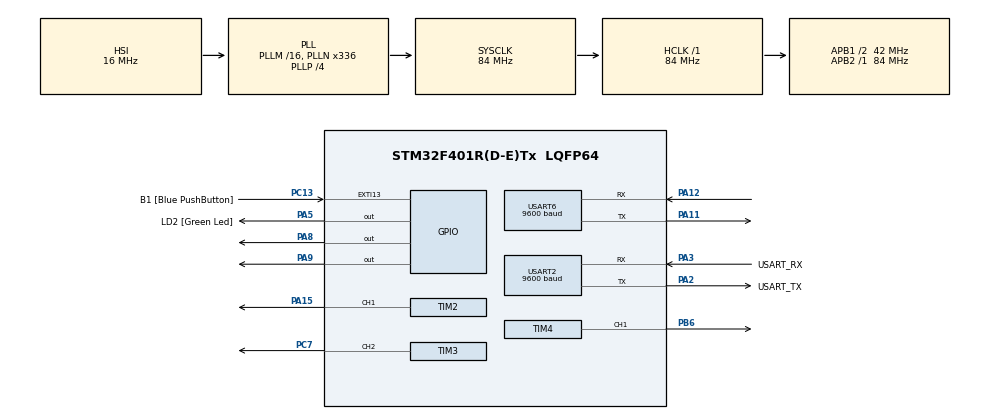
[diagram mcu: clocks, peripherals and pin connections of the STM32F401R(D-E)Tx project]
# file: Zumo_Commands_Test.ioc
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Mcu.Family=STM32F4
Mcu.Name=STM32F401R(D-E)Tx
Mcu.Package=LQFP64
NVIC.PriorityGroup=NVIC_PRIORITYGROUP_0
NVIC.USART6_IRQn=true\:0\:0\:false\:false\:true\:true\:true\:true
PA11.Mode=Asynchronous
PA11.Signal=USART6_TX
PA12.Mode=Asynchronous
PA12.Signal=USART6_RX
PA13.GPIO_Label=TMS
PA13.Mode=Serial_Wire
PA13.Signal=SYS_JTMS-SWDIO
PA14.GPIO_Label=TCK
PA14.Mode=Serial_Wire
PA14.Signal=SYS_JTCK-SWCLK
PA15.Signal=S_TIM2_CH1_ETR
PA2.GPIO_Label=USART_TX
PA2.GPIO_Mode=GPIO_MODE_AF_PP
PA2.GPIO_PuPd=GPIO_NOPULL
PA2.GPIO_Speed=GPIO_SPEED_FREQ_LOW
PA2.Mode=Asynchronous
PA2.Signal=USART2_TX
PA3.GPIO_Label=USART_RX
PA3.GPIO_Mode=GPIO_MODE_AF_PP
PA3.GPIO_PuPd=GPIO_NOPULL
PA3.GPIO_Speed=GPIO_SPEED_FREQ_LOW
PA3.Mode=Asynchronous
PA3.Signal=USART2_RX
PA5.GPIO_Label=LD2 [Green Led]
PA5.GPIO_Mode=GPIO_MODE_OUTPUT_PP
PA5.GPIO_PuPd=GPIO_NOPULL
PA5.GPIO_Speed=GPIO_SPEED_FREQ_LOW
PA5.Signal=GPIO_Output
PA8.Signal=GPIO_Output
PA9.Signal=GPIO_Output
PB3.GPIO_Label=SWO
PB3.Signal=SYS_JTDO-SWO
PB6.Signal=S_TIM4_CH1
PC13-ANTI_TAMP.GPIO_Label=B1 [Blue PushButton]
PC13-ANTI_TAMP.GPIO_ModeDefaultEXTI=GPIO_MODE_IT_FALLING
PC13-ANTI_TAMP.GPIO_PuPd=GPIO_NOPULL
PC13-ANTI_TAMP.Signal=GPXTI13
PC14-OSC32_IN.Mode=LSE-External-Oscillator
PC14-OSC32_IN.Signal=RCC_OSC32_IN
PC15-OSC32_OUT.Mode=LSE-External-Oscillator
PC15-OSC32_OUT.Signal=RCC_OSC32_OUT
PC7.Signal=S_TIM3_CH2
PH0\ -\ OSC_IN.Mode=HSE-External-Clock-Source
PH0\ -\ OSC_IN.Signal=RCC_OSC_IN
PH1\ -\ OSC_OUT.Mode=HSE-External-Clock-Source
PH1\ -\ OSC_OUT.Signal=RCC_OSC_OUT
ProjectManager.HeapSize=0x200
ProjectManager.StackSize=0x400
ProjectManager.TargetToolchain=STM32CubeIDE
RCC.48MHZClocksFreq_Value=48000000
RCC.AHBFreq_Value=84000000
RCC.APB1CLKDivider=RCC_HCLK_DIV2
RCC.APB1Freq_Value=42000000
RCC.APB1TimFreq_Value=84000000
RCC.APB2Freq_Value=84000000
RCC.APB2TimFreq_Value=84000000
RCC.CortexFreq_Value=84000000
RCC.HCLKFreq_Value=84000000
RCC.HSE_VALUE=8000000
RCC.HSI_VALUE=16000000
RCC.PLLN=336
RCC.PLLP=RCC_PLLP_DIV4
RCC.PLLQ=7
RCC.SYSCLKFreq_VALUE=84000000
RCC.SYSCLKSource=RCC_SYSCLKSOURCE_PLLCLK
RCC.VCOOutputFreq_Value=336000000
SH.S_TIM2_CH1_ETR.0=TIM2_CH1,PWM Generation1 CH1
SH.S_TIM3_CH2.0=TIM3_CH2,PWM Generation2 CH2
SH.S_TIM4_CH1.0=TIM4_CH1,PWM Generation1 CH1
TIM2.Channel-PWM\ Generation1\ CH1=TIM_CHANNEL_1
TIM2.Period=25
TIM2.Prescaler=83
TIM2.Pulse-PWM\ Generation1\ CH1=13
TIM3.Channel-PWM\ Generation2\ CH2=TIM_CHANNEL_2
TIM3.Period=49
TIM3.Prescaler=83
TIM3.Pulse-PWM\ Generation2\ CH2=25
TIM4.Channel-PWM\ Generation1\ CH1=TIM_CHANNEL_1
TIM4.Period=49
TIM4.Prescaler=83
TIM4.Pulse-PWM\ Generation1\ CH1=25
TIM5.Prescaler=8399
USART2.BaudRate=9600
USART2.VirtualMode=VM_ASYNC
USART6.BaudRate=9600
USART6.VirtualMode=VM_ASYNC
VP_TIM1_VS_ClockSourceINT.Mode=Internal
VP_TIM2_VS_ClockSourceINT.Mode=Internal
VP_TIM5_VS_ClockSourceINT.Mode=Internal
board=NUCLEO-F401RE

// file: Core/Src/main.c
/* USER CODE BEGIN Header */
/**
  ******************************************************************************
  * @file           : main.c
  * @brief          : Main program body
  ******************************************************************************
  * @attention
  *
  * Copyright (c) 2023 STMicroelectronics.
  * All rights reserved.
  *
  * This software is licensed under terms that can be found in the LICENSE file
  * in the root directory of this software component.
  * If no LICENSE file comes with this software, it is provided AS-IS.
  *
  ******************************************************************************
  */
/* USER CODE END Header */
#include "main.h"

TIM_HandleTypeDef htim1;
TIM_HandleTypeDef htim2;
TIM_HandleTypeDef htim3;
TIM_HandleTypeDef htim4;
TIM_HandleTypeDef htim5;

UART_HandleTypeDef huart2;
UART_HandleTypeDef huart6;

void SystemClock_Config(void);
static void MX_GPIO_Init(void);
static void MX_USART2_UART_Init(void);
static void MX_USART6_UART_Init(void);
static void MX_TIM3_Init(void);
static void MX_TIM4_Init(void);
static void MX_TIM2_Init(void);
static void MX_TIM1_Init(void);
static void MX_TIM5_Init(void);

/* USER CODE BEGIN 0 */

int start_time = 0;
int blast = 0;
uint8_t rx_data[1];

void left_track_fwd() {
	HAL_GPIO_WritePin(GPIOA, GPIO_PIN_9, 0);
}

void left_track_bwd() {
	HAL_GPIO_WritePin(GPIOA, GPIO_PIN_9, 1);
}

void right_track_fwd() {
	HAL_GPIO_WritePin(GPIOA, GPIO_PIN_8, 0);
}

void right_track_bwd() {
	HAL_GPIO_WritePin(GPIOA, GPIO_PIN_8, 1);
}

void Process_Command(uint8_t cmd) {
	int curr_time;
	switch (cmd) {
	case 'u':
		left_track_fwd();
		right_track_fwd();
		break;
	case 'd':
		left_track_bwd();
		right_track_bwd();
		break;
	case 'l':
		left_track_bwd();
		right_track_fwd();
		break;
	case 'r':
		left_track_fwd();
		right_track_bwd();
		break;
	case 's':
		TIM3->CCR2 = 0;
		TIM4->CCR1 = 0;
		break;
	case 'g':
		TIM3->CCR2 = 25;
		TIM4->CCR1 = 25;
		break;
	case 'b':
		blast = 1;
		break;
	}
}

void HAL_UART_RxCpltCallback(UART_HandleTypeDef *huart) {
	Process_Command(rx_data[0]);
	HAL_UART_Receive_IT(&huart6, rx_data, 1);
}

/* USER CODE END 0 */

int main(void)
{

  /* MCU Configuration--------------------------------------------------------*/

  /* Reset of all peripherals, Initializes the Flash interface and the Systick. */
  HAL_Init();

  /* Configure the system clock */
  SystemClock_Config();

  /* Initialize all configured peripherals */
  MX_GPIO_Init();
  MX_USART2_UART_Init();
  MX_USART6_UART_Init();
  MX_TIM3_Init();
  MX_TIM4_Init();
  MX_TIM2_Init();
  MX_TIM1_Init();
  MX_TIM5_Init();
  /* USER CODE BEGIN 2 */

  Process_Command('s');
  TIM2->CCR1 = 0;
  HAL_TIM_PWM_Start(&htim2, TIM_CHANNEL_1);
  HAL_TIM_PWM_Start(&htim3, TIM_CHANNEL_2);
  HAL_TIM_PWM_Start(&htim4, TIM_CHANNEL_1);
  HAL_UART_Receive_IT(&huart6, rx_data, 1);

  /* USER CODE END 2 */

  /* Infinite loop */
  /* USER CODE BEGIN WHILE */

  while (1)
  {
	  if (blast) {
		  TIM2->CCR1 = 13;
		  HAL_Delay(250);
		  TIM2->CCR1 = 0;
		  HAL_Delay(500);
		  blast = 0;
	  }

    /* USER CODE END WHILE */

  }
}

void SystemClock_Config(void)
{
  RCC_OscInitTypeDef RCC_OscInitStruct = {0};
  RCC_ClkInitTypeDef RCC_ClkInitStruct = {0};

  /** Configure the main internal regulator output voltage
  */
  __HAL_RCC_PWR_CLK_ENABLE();
  __HAL_PWR_VOLTAGESCALING_CONFIG(PWR_REGULATOR_VOLTAGE_SCALE2);

  /** Initializes the RCC Oscillators according to the specified parameters
  * in the RCC_OscInitTypeDef structure.
  */
  RCC_OscInitStruct.OscillatorType = RCC_OSCILLATORTYPE_HSI;
  RCC_OscInitStruct.HSIState = RCC_HSI_ON;
  RCC_OscInitStruct.HSICalibrationValue = RCC_HSICALIBRATION_DEFAULT;
  RCC_OscInitStruct.PLL.PLLState = RCC_PLL_ON;
  RCC_OscInitStruct.PLL.PLLSource = RCC_PLLSOURCE_HSI;
  RCC_OscInitStruct.PLL.PLLM = 16;
  RCC_OscInitStruct.PLL.PLLN = 336;
  RCC_OscInitStruct.PLL.PLLP = RCC_PLLP_DIV4;
  RCC_OscInitStruct.PLL.PLLQ = 7;
  if (HAL_RCC_OscConfig(&RCC_OscInitStruct) != HAL_OK)
  {
    Error_Handler();
  }

  /** Initializes the CPU, AHB and APB buses clocks
  */
  RCC_ClkInitStruct.ClockType = RCC_CLOCKTYPE_HCLK|RCC_CLOCKTYPE_SYSCLK
                              |RCC_CLOCKTYPE_PCLK1|RCC_CLOCKTYPE_PCLK2;
  RCC_ClkInitStruct.SYSCLKSource = RCC_SYSCLKSOURCE_PLLCLK;
  RCC_ClkInitStruct.AHBCLKDivider = RCC_SYSCLK_DIV1;
  RCC_ClkInitStruct.APB1CLKDivider = RCC_HCLK_DIV2;
  RCC_ClkInitStruct.APB2CLKDivider = RCC_HCLK_DIV1;

  if (HAL_RCC_ClockConfig(&RCC_ClkInitStruct, FLASH_LATENCY_2) != HAL_OK)
  {
    Error_Handler();
  }
}

static void MX_TIM1_Init(void)
{

  TIM_ClockConfigTypeDef sClockSourceConfig = {0};
  TIM_MasterConfigTypeDef sMasterConfig = {0};

  htim1.Instance = TIM1;
  htim1.Init.Prescaler = 0;
  htim1.Init.CounterMode = TIM_COUNTERMODE_UP;
  htim1.Init.Period = 65535;
  htim1.Init.ClockDivision = TIM_CLOCKDIVISION_DIV1;
  htim1.Init.RepetitionCounter = 0;
  htim1.Init.AutoReloadPreload = TIM_AUTORELOAD_PRELOAD_DISABLE;
  if (HAL_TIM_Base_Init(&htim1) != HAL_OK)
  {
    Error_Handler();
  }
  sClockSourceConfig.ClockSource = TIM_CLOCKSOURCE_INTERNAL;
  if (HAL_TIM_ConfigClockSource(&htim1, &sClockSourceConfig) != HAL_OK)
  {
    Error_Handler();
  }
  sMasterConfig.MasterOutputTrigger = TIM_TRGO_RESET;
  sMasterConfig.MasterSlaveMode = TIM_MASTERSLAVEMODE_DISABLE;
  if (HAL_TIMEx_MasterConfigSynchronization(&htim1, &sMasterConfig) != HAL_OK)
  {
    Error_Handler();
  }

}

static void MX_TIM2_Init(void)
{

  TIM_ClockConfigTypeDef sClockSourceConfig = {0};
  TIM_MasterConfigTypeDef sMasterConfig = {0};
  TIM_OC_InitTypeDef sConfigOC = {0};

  htim2.Instance = TIM2;
  htim2.Init.Prescaler = 83;
  htim2.Init.CounterMode = TIM_COUNTERMODE_UP;
  htim2.Init.Period = 25;
  htim2.Init.ClockDivision = TIM_CLOCKDIVISION_DIV1;
  htim2.Init.AutoReloadPreload = TIM_AUTORELOAD_PRELOAD_DISABLE;
  if (HAL_TIM_Base_Init(&htim2) != HAL_OK)
  {
    Error_Handler();
  }
  sClockSourceConfig.ClockSource = TIM_CLOCKSOURCE_INTERNAL;
  if (HAL_TIM_ConfigClockSource(&htim2, &sClockSourceConfig) != HAL_OK)
  {
    Error_Handler();
  }
  if (HAL_TIM_PWM_Init(&htim2) != HAL_OK)
  {
    Error_Handler();
  }
  sMasterConfig.MasterOutputTrigger = TIM_TRGO_RESET;
  sMasterConfig.MasterSlaveMode = TIM_MASTERSLAVEMODE_DISABLE;
  if (HAL_TIMEx_MasterConfigSynchronization(&htim2, &sMasterConfig) != HAL_OK)
  {
    Error_Handler();
  }
  sConfigOC.OCMode = TIM_OCMODE_PWM1;
  sConfigOC.Pulse = 13;
  sConfigOC.OCPolarity = TIM_OCPOLARITY_HIGH;
  sConfigOC.OCFastMode = TIM_OCFAST_DISABLE;
  if (HAL_TIM_PWM_ConfigChannel(&htim2, &sConfigOC, TIM_CHANNEL_1) != HAL_OK)
  {
    Error_Handler();
  }
  HAL_TIM_MspPostInit(&htim2);

}

static void MX_TIM3_Init(void)
{

  TIM_MasterConfigTypeDef sMasterConfig = {0};
  TIM_OC_InitTypeDef sConfigOC = {0};

  htim3.Instance = TIM3;
  htim3.Init.Prescaler = 83;
  htim3.Init.CounterMode = TIM_COUNTERMODE_UP;
  htim3.Init.Period = 49;
  htim3.Init.ClockDivision = TIM_CLOCKDIVISION_DIV1;
  htim3.Init.AutoReloadPreload = TIM_AUTORELOAD_PRELOAD_DISABLE;
  if (HAL_TIM_PWM_Init(&htim3) != HAL_OK)
  {
    Error_Handler();
  }
  sMasterConfig.MasterOutputTrigger = TIM_TRGO_RESET;
  sMasterConfig.MasterSlaveMode = TIM_MASTERSLAVEMODE_DISABLE;
  if (HAL_TIMEx_MasterConfigSynchronization(&htim3, &sMasterConfig) != HAL_OK)
  {
    Error_Handler();
  }
  sConfigOC.OCMode = TIM_OCMODE_PWM1;
  sConfigOC.Pulse = 25;
  sConfigOC.OCPolarity = TIM_OCPOLARITY_HIGH;
  sConfigOC.OCFastMode = TIM_OCFAST_DISABLE;
  if (HAL_TIM_PWM_ConfigChannel(&htim3, &sConfigOC, TIM_CHANNEL_2) != HAL_OK)
  {
    Error_Handler();
  }
  HAL_TIM_MspPostInit(&htim3);

}

static void MX_TIM4_Init(void)
{

  TIM_MasterConfigTypeDef sMasterConfig = {0};
  TIM_OC_InitTypeDef sConfigOC = {0};

  htim4.Instance = TIM4;
  htim4.Init.Prescaler = 83;
  htim4.Init.CounterMode = TIM_COUNTERMODE_UP;
  htim4.Init.Period = 49;
  htim4.Init.ClockDivision = TIM_CLOCKDIVISION_DIV1;
  htim4.Init.AutoReloadPreload = TIM_AUTORELOAD_PRELOAD_DISABLE;
  if (HAL_TIM_PWM_Init(&htim4) != HAL_OK)
  {
    Error_Handler();
  }
  sMasterConfig.MasterOutputTrigger = TIM_TRGO_RESET;
  sMasterConfig.MasterSlaveMode = TIM_MASTERSLAVEMODE_DISABLE;
  if (HAL_TIMEx_MasterConfigSynchronization(&htim4, &sMasterConfig) != HAL_OK)
  {
    Error_Handler();
  }
  sConfigOC.OCMode = TIM_OCMODE_PWM1;
  sConfigOC.Pulse = 25;
  sConfigOC.OCPolarity = TIM_OCPOLARITY_HIGH;
  sConfigOC.OCFastMode = TIM_OCFAST_DISABLE;
  if (HAL_TIM_PWM_ConfigChannel(&htim4, &sConfigOC, TIM_CHANNEL_1) != HAL_OK)
  {
    Error_Handler();
  }
  HAL_TIM_MspPostInit(&htim4);

}

static void MX_TIM5_Init(void)
{

  TIM_ClockConfigTypeDef sClockSourceConfig = {0};
  TIM_MasterConfigTypeDef sMasterConfig = {0};

  htim5.Instance = TIM5;
  htim5.Init.Prescaler = 8399;
  htim5.Init.CounterMode = TIM_COUNTERMODE_UP;
  htim5.Init.Period = 4294967295;
  htim5.Init.ClockDivision = TIM_CLOCKDIVISION_DIV1;
  htim5.Init.AutoReloadPreload = TIM_AUTORELOAD_PRELOAD_DISABLE;
  if (HAL_TIM_Base_Init(&htim5) != HAL_OK)
  {
    Error_Handler();
  }
  sClockSourceConfig.ClockSource = TIM_CLOCKSOURCE_INTERNAL;
  if (HAL_TIM_ConfigClockSource(&htim5, &sClockSourceConfig) != HAL_OK)
  {
    Error_Handler();
  }
  sMasterConfig.MasterOutputTrigger = TIM_TRGO_RESET;
  sMasterConfig.MasterSlaveMode = TIM_MASTERSLAVEMODE_DISABLE;
  if (HAL_TIMEx_MasterConfigSynchronization(&htim5, &sMasterConfig) != HAL_OK)
  {
    Error_Handler();
  }

}

static void MX_USART2_UART_Init(void)
{

  huart2.Instance = USART2;
  huart2.Init.BaudRate = 9600;
  huart2.Init.WordLength = UART_WORDLENGTH_8B;
  huart2.Init.StopBits = UART_STOPBITS_1;
  huart2.Init.Parity = UART_PARITY_NONE;
  huart2.Init.Mode = UART_MODE_TX_RX;
  huart2.Init.HwFlowCtl = UART_HWCONTROL_NONE;
  huart2.Init.OverSampling = UART_OVERSAMPLING_16;
  if (HAL_UART_Init(&huart2) != HAL_OK)
  {
    Error_Handler();
  }

}

static void MX_USART6_UART_Init(void)
{

  huart6.Instance = USART6;
  huart6.Init.BaudRate = 9600;
  huart6.Init.WordLength = UART_WORDLENGTH_8B;
  huart6.Init.StopBits = UART_STOPBITS_1;
  huart6.Init.Parity = UART_PARITY_NONE;
  huart6.Init.Mode = UART_MODE_TX_RX;
  huart6.Init.HwFlowCtl = UART_HWCONTROL_NONE;
  huart6.Init.OverSampling = UART_OVERSAMPLING_16;
  if (HAL_UART_Init(&huart6) != HAL_OK)
  {
    Error_Handler();
  }

}

static void MX_GPIO_Init(void)
{
  GPIO_InitTypeDef GPIO_InitStruct = {0};

  /* GPIO Ports Clock Enable */
  __HAL_RCC_GPIOC_CLK_ENABLE();
  __HAL_RCC_GPIOH_CLK_ENABLE();
  __HAL_RCC_GPIOA_CLK_ENABLE();
  __HAL_RCC_GPIOB_CLK_ENABLE();

  /*Configure GPIO pin Output Level */
  HAL_GPIO_WritePin(GPIOA, LD2_Pin|GPIO_PIN_8|GPIO_PIN_9, GPIO_PIN_RESET);

  /*Configure GPIO pin : B1_Pin */
  GPIO_InitStruct.Pin = B1_Pin;
  GPIO_InitStruct.Mode = GPIO_MODE_IT_FALLING;
  GPIO_InitStruct.Pull = GPIO_NOPULL;
  HAL_GPIO_Init(B1_GPIO_Port, &GPIO_InitStruct);

  /*Configure GPIO pins : LD2_Pin PA8 PA9 */
  GPIO_InitStruct.Pin = LD2_Pin|GPIO_PIN_8|GPIO_PIN_9;
  GPIO_InitStruct.Mode = GPIO_MODE_OUTPUT_PP;
  GPIO_InitStruct.Pull = GPIO_NOPULL;
  GPIO_InitStruct.Speed = GPIO_SPEED_FREQ_LOW;
  HAL_GPIO_Init(GPIOA, &GPIO_InitStruct);

}

void Error_Handler(void)
{
  __disable_irq();
  while (1)
  {
  }
}
